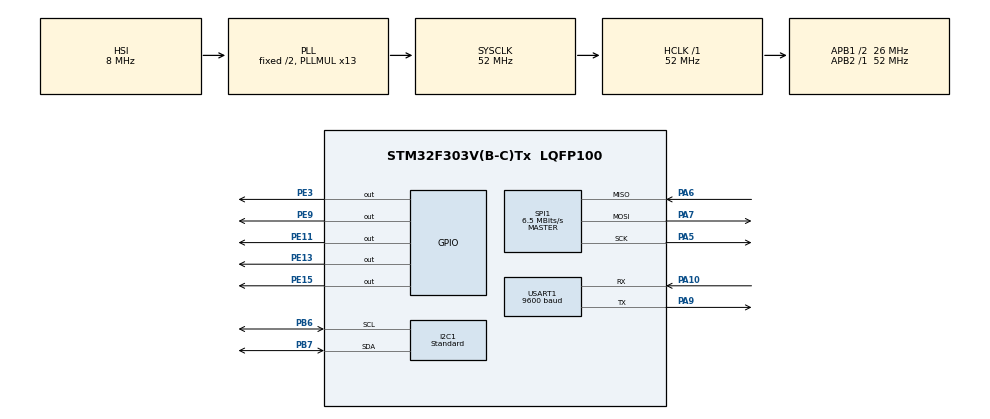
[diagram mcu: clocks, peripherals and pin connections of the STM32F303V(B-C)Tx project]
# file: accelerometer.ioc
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I2C1.I2C_Speed_Mode=I2C_Standard
Mcu.Family=STM32F3
Mcu.Name=STM32F303V(B-C)Tx
Mcu.Package=LQFP100
NVIC.PriorityGroup=NVIC_PRIORITYGROUP_4
NVIC.USART1_IRQn=true\:0\:0\:false\:false\:true\:true
PA10.Mode=Asynchronous
PA10.Signal=USART1_RX
PA5.Mode=Full_Duplex_Master
PA5.Signal=SPI1_SCK
PA6.Mode=Full_Duplex_Master
PA6.Signal=SPI1_MISO
PA7.Mode=Full_Duplex_Master
PA7.Signal=SPI1_MOSI
PA9.Mode=Asynchronous
PA9.Signal=USART1_TX
PB6.Mode=I2C
PB6.Signal=I2C1_SCL
PB7.Mode=I2C
PB7.Signal=I2C1_SDA
PE11.Signal=GPIO_Output
PE13.Signal=GPIO_Output
PE15.Signal=GPIO_Output
PE3.Signal=GPIO_Output
PE9.Signal=GPIO_Output
PF0-OSC_IN.Mode=HSE-External-Oscillator
PF0-OSC_IN.Signal=RCC_OSC_IN
PF1-OSC_OUT.Mode=HSE-External-Oscillator
PF1-OSC_OUT.Signal=RCC_OSC_OUT
ProjectManager.HeapSize=0x200
ProjectManager.StackSize=0x400
ProjectManager.TargetToolchain=TrueSTUDIO
RCC.AHBFreq_Value=52000000
RCC.APB1CLKDivider=RCC_HCLK_DIV2
RCC.APB1Freq_Value=26000000
RCC.APB1TimFreq_Value=52000000
RCC.APB2Freq_Value=52000000
RCC.APB2TimFreq_Value=52000000
RCC.CortexFreq_Value=52000000
RCC.HCLKFreq_Value=52000000
RCC.HSE_VALUE=8000000
RCC.HSI_VALUE=8000000
RCC.LSE_VALUE=32768
RCC.PLLMUL=RCC_PLL_MUL13
RCC.RCC_PLLsource_Clock_Source_FROM_HSE=RCC_HSE_PREDIV_DIV2
RCC.SYSCLKFreq_VALUE=52000000
RCC.SYSCLKSourceVirtual=RCC_SYSCLKSOURCE_PLLCLK
RCC.USBFreq_Value=52000000
SPI1.BaudRatePrescaler=SPI_BAUDRATEPRESCALER_8
SPI1.CLKPhase=SPI_PHASE_2EDGE
SPI1.CLKPolarity=SPI_POLARITY_HIGH
SPI1.CalculateBaudRate=6.5 MBits/s
SPI1.DataSize=SPI_DATASIZE_8BIT
SPI1.Direction=SPI_DIRECTION_2LINES
SPI1.Mode=SPI_MODE_MASTER
SPI1.VirtualType=VM_MASTER
USART1.BaudRate=9600
USART1.VirtualMode-Asynchronous=VM_ASYNC
board=accelerometer

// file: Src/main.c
#include "main.h"
#include "stm32f3xx_hal.h"
#include "i2c.h"

#include "usart.h"
#include "gpio.h"

/* USER CODE BEGIN Includes */
#include "gyro.h"
#include "acc.h"
#include "stdio.h"
/* USER CODE END Includes */

/* USER CODE BEGIN PV */
int msg_size;
uint8_t msg[50];
/* USER CODE END PV */

void SystemClock_Config(void);

/* USER CODE BEGIN PFP */
/* Private function prototypes -----------------------------------------------*/

//UART printf
int _write(int file, char* ptr, int len) {
	HAL_UART_Transmit(&huart1, ptr, len, 50);
	return len;
}
/* USER CODE END PFP */

int main(void)
{

  /* MCU Configuration----------------------------------------------------------*/

  /* Reset of all peripherals, Initializes the Flash interface and the Systick. */
  HAL_Init();

  /* Configure the system clock */
  SystemClock_Config();

  /* Initialize all configured peripherals */
  MX_GPIO_Init();

  MX_I2C1_Init();
  MX_USART1_UART_Init();
  MX_SPI1_Init();
  /* USER CODE BEGIN 2 */
  HAL_GPIO_WritePin(GPIOE,GPIO_PIN_3,ENABLE);
  LSM303_Init();
  L3GD20_Init();

  /* USER CODE END 2 */

  /* Infinite loop */
  /* USER CODE BEGIN WHILE */
	while (1) {
		if (acc_data[0] > 200) {
			HAL_GPIO_WritePin(GPIOE, GPIO_PIN_9, 1);
			HAL_GPIO_WritePin(GPIOE, GPIO_PIN_13, 0);
		}

		else if (acc_data[0] < -200) {
			HAL_GPIO_WritePin(GPIOE, GPIO_PIN_9, 0);
			HAL_GPIO_WritePin(GPIOE, GPIO_PIN_13, 1);
		}
		if (acc_data[1] > 200) {
			HAL_GPIO_WritePin(GPIOE, GPIO_PIN_11, 0);
			HAL_GPIO_WritePin(GPIOE, GPIO_PIN_15, 1);
		}

		else if (acc_data[1] < -200) {
			HAL_GPIO_WritePin(GPIOE, GPIO_PIN_11, 1);
			HAL_GPIO_WritePin(GPIOE, GPIO_PIN_15, 0);
		}

		L3GD20_ReadAxis();
		LSM303_ReadAxis();
		printf("Gyro: RotX: %d RotY: %d RotZ: %d\r\n",gyro_data[0],gyro_data[1],gyro_data[2]);
		HAL_Delay(50);
		printf("Acc: X: %d Y: %d Z: %d\r\n",acc_data[0],acc_data[1],acc_data[2]);
		HAL_Delay(300);
		//UWAGA = JEZELI GYRO NIE DZIALA, TZN ZE TRZEBA USTAWIC
		// hspi1.Init.DataSize = SPI_DATASIZE_8BIT;
		//  hspi1.Init.CLKPolarity = SPI_POLARITY_HIGH;
		//  hspi1.Init.CLKPhase = SPI_PHASE_2EDGE;
  /* USER CODE END WHILE */

	}

}

void SystemClock_Config(void)
{

  RCC_OscInitTypeDef RCC_OscInitStruct;
  RCC_ClkInitTypeDef RCC_ClkInitStruct;
  RCC_PeriphCLKInitTypeDef PeriphClkInit;

    /**Initializes the CPU, AHB and APB busses clocks
    */
  RCC_OscInitStruct.OscillatorType = RCC_OSCILLATORTYPE_HSI;
  RCC_OscInitStruct.HSIState = RCC_HSI_ON;
  RCC_OscInitStruct.HSICalibrationValue = 16;
  RCC_OscInitStruct.PLL.PLLState = RCC_PLL_ON;
  RCC_OscInitStruct.PLL.PLLSource = RCC_PLLSOURCE_HSI;
  RCC_OscInitStruct.PLL.PLLMUL = RCC_PLL_MUL13;
  if (HAL_RCC_OscConfig(&RCC_OscInitStruct) != HAL_OK)
  {
    _Error_Handler(__FILE__, __LINE__);
  }

    /**Initializes the CPU, AHB and APB busses clocks
    */
  RCC_ClkInitStruct.ClockType = RCC_CLOCKTYPE_HCLK|RCC_CLOCKTYPE_SYSCLK
                              |RCC_CLOCKTYPE_PCLK1|RCC_CLOCKTYPE_PCLK2;
  RCC_ClkInitStruct.SYSCLKSource = RCC_SYSCLKSOURCE_PLLCLK;
  RCC_ClkInitStruct.AHBCLKDivider = RCC_SYSCLK_DIV1;
  RCC_ClkInitStruct.APB1CLKDivider = RCC_HCLK_DIV2;
  RCC_ClkInitStruct.APB2CLKDivider = RCC_HCLK_DIV1;

  if (HAL_RCC_ClockConfig(&RCC_ClkInitStruct, FLASH_LATENCY_2) != HAL_OK)
  {
    _Error_Handler(__FILE__, __LINE__);
  }

  PeriphClkInit.PeriphClockSelection = RCC_PERIPHCLK_USART1|RCC_PERIPHCLK_I2C1;
  PeriphClkInit.Usart1ClockSelection = RCC_USART1CLKSOURCE_PCLK2;
  PeriphClkInit.I2c1ClockSelection = RCC_I2C1CLKSOURCE_HSI;
  if (HAL_RCCEx_PeriphCLKConfig(&PeriphClkInit) != HAL_OK)
  {
    _Error_Handler(__FILE__, __LINE__);
  }

    /**Configure the Systick interrupt time
    */
  HAL_SYSTICK_Config(HAL_RCC_GetHCLKFreq()/1000);

    /**Configure the Systick
    */
  HAL_SYSTICK_CLKSourceConfig(SYSTICK_CLKSOURCE_HCLK);

  /* SysTick_IRQn interrupt configuration */
  HAL_NVIC_SetPriority(SysTick_IRQn, 0, 0);
}

void _Error_Handler(char *file, int line)
{
	while (1) {
	}
}

/************************ (C) COPYRIGHT STMicroelectronics *****END OF FILE****/
